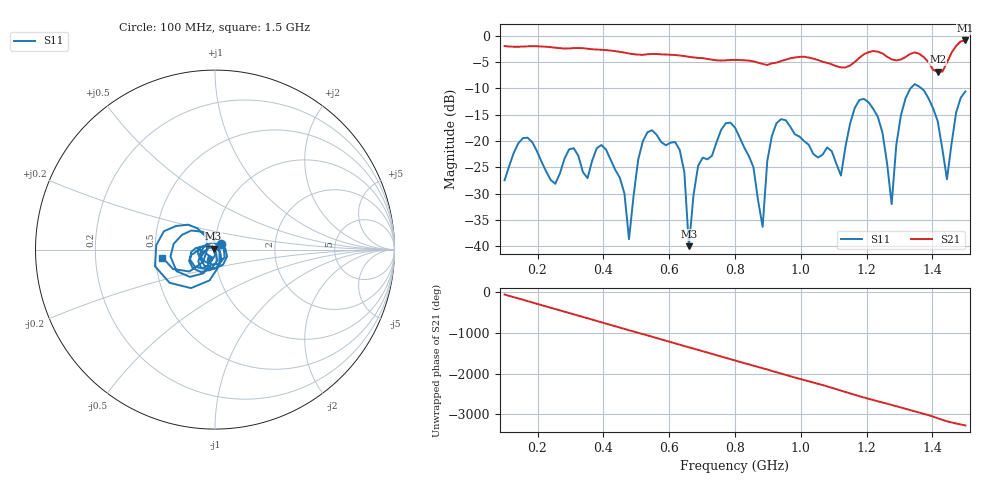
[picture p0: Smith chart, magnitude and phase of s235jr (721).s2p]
! NanoVNA-App
! Date: 2025-09-25 15:09:47
! Start: 100MHz Stop: 1,5GHz Points: 101
! S-Parameter data: F S11 S21 S12 S22
# Hz S RI R 50
!  Frequency  S11_Real  S11_Imag  S21_Real  S21_Imag  S12_Real  S12_Imag  S22_Real  S22_Imag
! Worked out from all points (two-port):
!   101 points, 100 MHz to 1.5 GHz, reference 50 ohm
!   highest |S21| = -0.89 dB at 1.5 GHz (marker M1); lowest = -6.8 dB at 1.416 GHz (marker M2)
!   |S21| within 3 dB of the highest: start of sweep to 648.9 MHz; 1.184 GHz to 1.26 GHz (75.94 MHz wide, 6.21 % of centre) (the widest 2 of 4)
!   lowest |S11| = -40.0 dB at 660 MHz (marker M3), VSWR 1.02, Z = 49.2 + j0.551 ohm
!   |S11| at or under -10 dB: start of sweep to 1.333 GHz; 1.366 GHz to end of sweep
!   S12 and S22 are empty: the file has one direction only
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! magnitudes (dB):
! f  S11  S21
! 100 MHz  -27.5  -2.0
! 156 MHz  -19.5  -2.1
! 338 MHz  -25.9  -2.4
! 408 MHz  -21.6  -2.7
! 478 MHz  -38.7  -3.4
! 520 MHz  -20.1  -3.6
! 576 MHz  -20.2  -3.5
! 632 MHz  -21.7  -3.7
! 660 MHz  -40.0  -4.0
! 688 MHz  -24.7  -4.2
! 800 MHz  -17.5  -4.6
! 884 MHz  -36.3  -5.3
! 926 MHz  -16.6  -5.1
! 1.038 GHz  -22.5  -4.3
! 1.122 GHz  -26.6  -6.0
! 1.192 GHz  -12.0  -3.5
! 1.248 GHz  -18.4  -3.3
! 1.276 GHz  -32.0  -4.5
! 1.332 GHz  -10.1  -3.5
! 1.416 GHz  -16.3  -6.8
! 1.444 GHz  -27.3  -5.1
! 1.5 GHz  -10.6  -0.9
